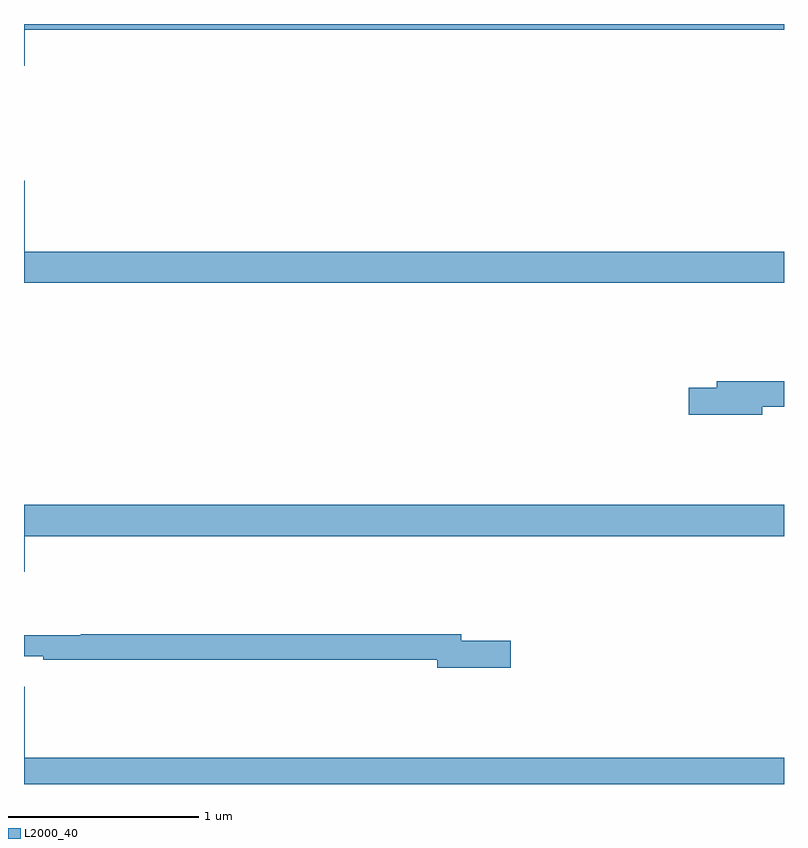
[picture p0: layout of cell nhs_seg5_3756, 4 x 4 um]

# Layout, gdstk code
import gdstk
lib = gdstk.Library(unit=1e-6, precision=1e-09)
def P(c, l, *ps):  # polygons
    for p in ps: c.add(gdstk.Polygon(p, *l))
L2000_40 = (2000, 40)

nhs_seg5_3756 = lib.new_cell('nhs_seg5_3756')
P(nhs_seg5_3756, L2000_40, [(333.004,848.768),(337,848.768),(337,848.799),(333,848.799),(333,848.58),(333.004,848.58)],
  [(337,847.6),(333.004,847.6),(333.004,847.975),(333,847.975),(333,847.436),(337,847.436)],
  [(336.886,846.784),(337,846.784),(337,846.92),(336.647,846.92),(336.647,846.884),(336.498,846.884),(336.498,846.742),(336.886,846.742)],
  [(333.004,846.104),(337,846.104),(337,846.268),(333,846.268),(333,845.916),(333.004,845.916)],
  [(335.563,845.552),(335.302,845.552),(335.302,845.588),(333.298,845.588),(333.298,845.581),(333,845.581),(333,845.471),(333.1,845.471),(333.1,845.452),(335.174,845.452),(335.174,845.41),(335.563,845.41)],
  [(337,844.936),(333.004,844.936),(333.004,845.311),(333,845.311),(333,844.799),(337,844.799)])

lib.write_gds('nhs_seg5_3756.gds')
